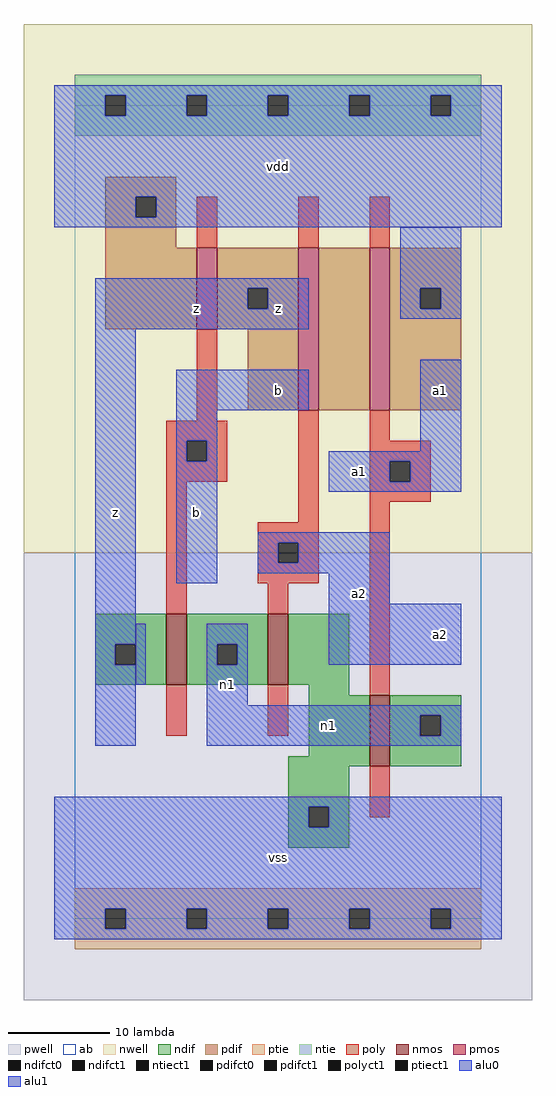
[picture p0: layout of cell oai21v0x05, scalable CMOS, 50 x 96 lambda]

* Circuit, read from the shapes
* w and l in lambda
.subckt oai21v0x05 a1 a2 b n1 vdd vss z
M1 n1 b z vss nfet w=7 l=2
M2 vss a2 n1 vss nfet w=7 l=2
M3 n1 a1 vss vss nfet w=7 l=2
M4 z b vdd vdd pfet w=8 l=2
M5 n2 a2 z vdd pfet w=16 l=2
M6 vdd a1 n2 vdd pfet w=16 l=2
.ends

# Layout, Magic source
magic
tech scmos
<< ab >>
rect 0 0 40 80
<< nwell >>
rect -5 36 45 88
<< pwell >>
rect -5 -8 45 36
<< poly >>
rect 12 66 14 71
rect 22 66 24 71
rect 29 66 31 71
rect 12 49 14 58
rect 9 47 15 49
rect 9 45 11 47
rect 13 45 15 47
rect 9 43 15 45
rect 9 30 11 43
rect 22 39 24 50
rect 18 37 24 39
rect 18 35 20 37
rect 22 35 24 37
rect 18 33 24 35
rect 29 47 31 50
rect 29 45 35 47
rect 29 43 31 45
rect 33 43 35 45
rect 29 41 35 43
rect 19 30 21 33
rect 9 18 11 23
rect 19 18 21 23
rect 29 22 31 41
rect 29 10 31 15
<< ndif >>
rect 2 27 9 30
rect 2 25 4 27
rect 6 25 9 27
rect 2 23 9 25
rect 11 27 19 30
rect 11 25 14 27
rect 16 25 19 27
rect 11 23 19 25
rect 21 23 27 30
rect 23 22 27 23
rect 23 16 29 22
rect 21 15 29 16
rect 31 20 38 22
rect 31 18 34 20
rect 36 18 38 20
rect 31 15 38 18
rect 21 11 27 15
rect 21 9 23 11
rect 25 9 27 11
rect 21 7 27 9
<< pdif >>
rect 3 71 10 73
rect 3 69 6 71
rect 8 69 10 71
rect 3 66 10 69
rect 3 58 12 66
rect 14 62 22 66
rect 14 60 17 62
rect 19 60 22 62
rect 14 58 22 60
rect 17 50 22 58
rect 24 50 29 66
rect 31 62 38 66
rect 31 60 34 62
rect 36 60 38 62
rect 31 50 38 60
<< alu1 >>
rect -2 81 42 82
rect -2 79 3 81
rect 5 79 11 81
rect 13 79 19 81
rect 21 79 27 81
rect 29 79 35 81
rect 37 79 42 81
rect -2 71 42 79
rect -2 69 6 71
rect 8 69 42 71
rect -2 68 42 69
rect 2 62 23 63
rect 2 60 17 62
rect 19 60 23 62
rect 2 58 23 60
rect 2 27 6 58
rect 10 50 23 54
rect 10 47 14 50
rect 10 45 11 47
rect 13 45 14 47
rect 34 46 38 55
rect 10 33 14 45
rect 25 45 38 46
rect 25 43 31 45
rect 33 43 38 45
rect 25 42 38 43
rect 18 37 31 38
rect 18 35 20 37
rect 22 35 31 37
rect 18 34 31 35
rect 25 31 31 34
rect 2 25 4 27
rect 2 17 6 25
rect 25 25 38 31
rect -2 11 42 12
rect -2 9 23 11
rect 25 9 42 11
rect -2 1 42 9
rect -2 -1 3 1
rect 5 -1 11 1
rect 13 -1 19 1
rect 21 -1 27 1
rect 29 -1 35 1
rect 37 -1 42 1
rect -2 -2 42 -1
<< ptie >>
rect 0 1 40 3
rect 0 -1 3 1
rect 5 -1 11 1
rect 13 -1 19 1
rect 21 -1 27 1
rect 29 -1 35 1
rect 37 -1 40 1
rect 0 -3 40 -1
<< ntie >>
rect 0 81 40 83
rect 0 79 3 81
rect 5 79 11 81
rect 13 79 19 81
rect 21 79 27 81
rect 29 79 35 81
rect 37 79 40 81
rect 0 77 40 79
<< nmos >>
rect 9 23 11 30
rect 19 23 21 30
rect 29 15 31 22
<< pmos >>
rect 12 58 14 66
rect 22 50 24 66
rect 29 50 31 66
<< polyct1 >>
rect 11 45 13 47
rect 20 35 22 37
rect 31 43 33 45
<< ndifct0 >>
rect 14 25 16 27
rect 34 18 36 20
<< ndifct1 >>
rect 4 25 6 27
rect 23 9 25 11
<< ntiect1 >>
rect 3 79 5 81
rect 11 79 13 81
rect 19 79 21 81
rect 27 79 29 81
rect 35 79 37 81
<< ptiect1 >>
rect 3 -1 5 1
rect 11 -1 13 1
rect 19 -1 21 1
rect 27 -1 29 1
rect 35 -1 37 1
<< pdifct0 >>
rect 34 60 36 62
<< pdifct1 >>
rect 6 69 8 71
rect 17 60 19 62
<< alu0 >>
rect 32 62 38 68
rect 32 60 34 62
rect 36 60 38 62
rect 32 59 38 60
rect 6 23 7 29
rect 13 27 17 29
rect 13 25 14 27
rect 16 25 17 27
rect 13 21 17 25
rect 13 20 38 21
rect 13 18 34 20
rect 36 18 38 20
rect 13 17 38 18
<< labels >>
rlabel alu0 15 23 15 23 6 n1
rlabel alu0 25 19 25 19 6 n1
rlabel alu1 4 40 4 40 6 z
rlabel alu1 12 40 12 40 6 b
rlabel alu1 12 60 12 60 6 z
rlabel alu1 20 6 20 6 6 vss
rlabel alu1 28 32 28 32 6 a2
rlabel alu1 28 44 28 44 6 a1
rlabel alu1 20 52 20 52 6 b
rlabel alu1 20 60 20 60 6 z
rlabel alu1 20 74 20 74 6 vdd
rlabel alu1 36 28 36 28 6 a2
rlabel alu1 36 52 36 52 6 a1
<< end >>
